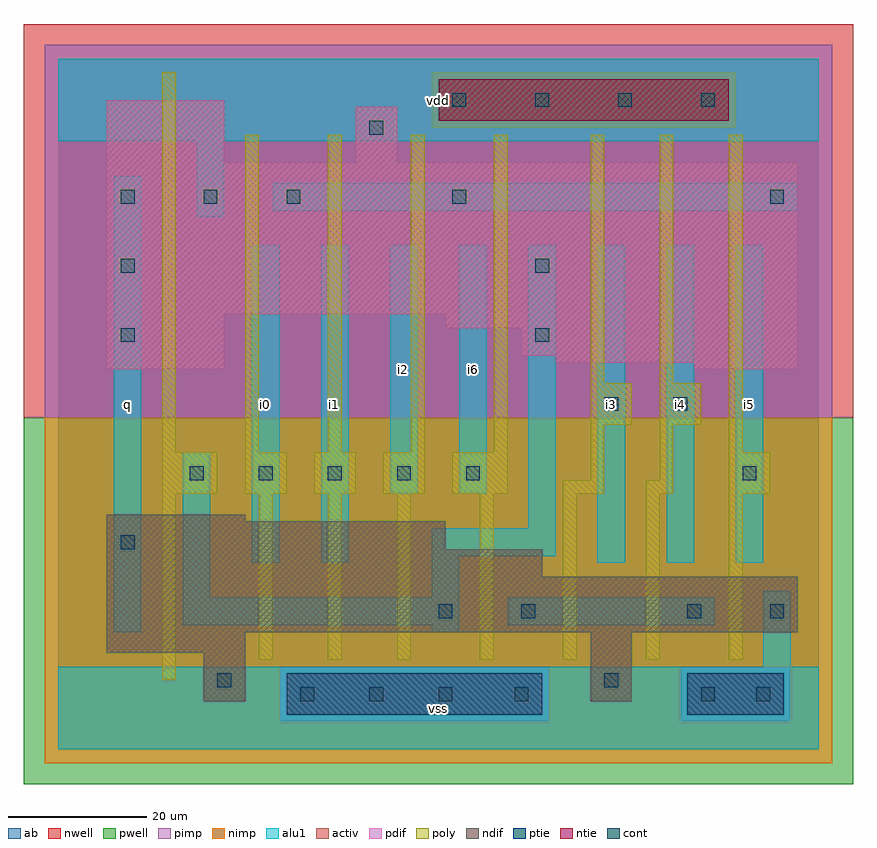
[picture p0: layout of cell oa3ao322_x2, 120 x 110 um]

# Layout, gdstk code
import gdstk
lib = gdstk.Library(unit=1e-6, precision=1e-09)
def R(c, l, rs):  # rectangles x0, y0, x1, y1
    for r in rs: c.add(gdstk.rectangle(r[:2], r[2:], *l))
def A(c, l, x, y, w, h, nx, ny, dx, dy):  # array of equal rectangles
    R(c, l, [(x+i*dx, y+j*dy, x+i*dx+w, y+j*dy+h) for i in range(nx) for j in range(ny)])
ndif = (3, 0)
pdif = (4, 0)
ntie = (5, 0)
ptie = (6, 0)
cont = (25, 0)
pwell = (41, 0)
nwell = (42, 0)
activ = (43, 0)
pimp = (44, 0)
nimp = (45, 0)
poly = (46, 0)
alu1 = (49, 0)
ab = (63, 0)

oa3ao322_x2 = lib.new_cell('oa3ao322_x2')
R(oa3ao322_x2, ndif, [(21,7,27,14), (77,7,83,17), (7,14,27,17), (7,17,107,25), (7,25,70,29), (7,29,56,33), (7,33,27,34)])
R(oa3ao322_x2, pdif, [(7,55,24,63), (92,55,107,56), (72,56,107,57), (67,57,107,61), (56,61,107,63), (7,63,107,85), (7,85,24,94), (43,85,49,93)])
R(oa3ao322_x2, ntie, [(55,91,97,97)])
R(oa3ao322_x2, ptie, [(33,5,70,11), (91,5,105,11)])
A(oa3ao322_x2, cont, 35, 7, 2, 2, 3, 1, 10, 0)
A(oa3ao322_x2, cont, 19, 39, 2, 2, 5, 1, 10, 0)
A(oa3ao322_x2, cont, 9, 79, 2, 2, 3, 1, 12, 0)
A(oa3ao322_x2, cont, 57, 93, 2, 2, 4, 1, 12, 0)
R(oa3ao322_x2, cont, [(66,7,68,9), (93,7,95,9), (101,7,103,9), (23,9,25,11), (79,9,81,11), (55,19,57,21), (67,19,69,21), (91,19,93,21), (103,19,105,21), (9,29,11,31), (99,39,101,41), (79,49,81,51), (89,49,91,51), (9,59,11,61), (69,59,71,61), (9,69,11,71), (69,69,71,71), (57,79,59,81), (103,79,105,81), (45,89,47,91)])
R(oa3ao322_x2, pwell, [(-5,-5,115,48)])
R(oa3ao322_x2, nwell, [(-5,48,115,105)])
R(oa3ao322_x2, activ, [(33,5,70,11), (91,5,105,11), (21,7,27,14), (77,7,83,17), (7,14,27,17), (7,17,107,25), (7,25,70,29), (7,29,56,33), (7,33,27,34), (7,55,24,63), (92,55,107,56), (72,56,107,57), (67,57,107,61), (56,61,107,63), (7,63,107,85), (7,85,24,94), (43,85,49,93), (55,91,97,97)])
R(oa3ao322_x2, pimp, [(32,4,71,12), (90,4,106,12), (-2,48,112,90), (-2,90,54,98), (98,90,112,98), (-2,98,112,102)])
R(oa3ao322_x2, nimp, [(-2,-2,112,4), (-2,4,32,12), (71,4,90,12), (106,4,112,12), (-2,12,112,48), (54,90,98,98)])
A(oa3ao322_x2, poly, 29, 13, 2, 24, 3, 1, 10, 0)
A(oa3ao322_x2, poly, 61, 13, 2, 24, 4, 1, 12, 0)
A(oa3ao322_x2, poly, 27, 37, 6, 6, 3, 1, 10, 0)
A(oa3ao322_x2, poly, 27, 43, 2, 46, 4, 1, 12, 0)
R(oa3ao322_x2, poly, [(15,10,17,37), (15,37,23,43), (57,37,65,43), (73,37,79,39), (85,37,89,39), (97,37,103,43), (77,39,79,47), (87,39,89,47), (15,43,17,98), (97,43,99,89), (77,47,83,53), (87,47,93,53), (77,53,79,89), (87,53,89,89)])
A(oa3ao322_x2, alu1, 78, 27, 4, 46, 3, 1, 10, 0)
R(oa3ao322_x2, alu1, [(0,0,110,12), (102,12,106,23), (8,17,12,83), (54,17,58,18), (18,18,58,22), (65,18,95,22), (18,22,22,43), (54,22,58,28), (28,27,32,73), (38,27,42,73), (54,28,72,32), (68,32,72,73), (48,37,52,73), (58,37,62,73), (20,77,24,88), (31,78,107,82), (0,88,110,100)])
R(oa3ao322_x2, ab, [(0,0,110,100)])
oa3ao322_x2.add(gdstk.Label('q', (10,50), layer=49, texttype=0))
oa3ao322_x2.add(gdstk.Label('i1', (40,50), layer=49, texttype=0))
oa3ao322_x2.add(gdstk.Label('i0', (30,50), layer=49, texttype=0))
oa3ao322_x2.add(gdstk.Label('i2', (50,55), layer=49, texttype=0))
oa3ao322_x2.add(gdstk.Label('vss', (55,6), layer=49, texttype=0))
oa3ao322_x2.add(gdstk.Label('i3', (80,50), layer=49, texttype=0))
oa3ao322_x2.add(gdstk.Label('i6', (60,55), layer=49, texttype=0))
oa3ao322_x2.add(gdstk.Label('vdd', (55,94), layer=49, texttype=0))
oa3ao322_x2.add(gdstk.Label('i4', (90,50), layer=49, texttype=0))
oa3ao322_x2.add(gdstk.Label('i5', (100,50), layer=49, texttype=0))

lib.write_gds('oa3ao322_x2.gds')
